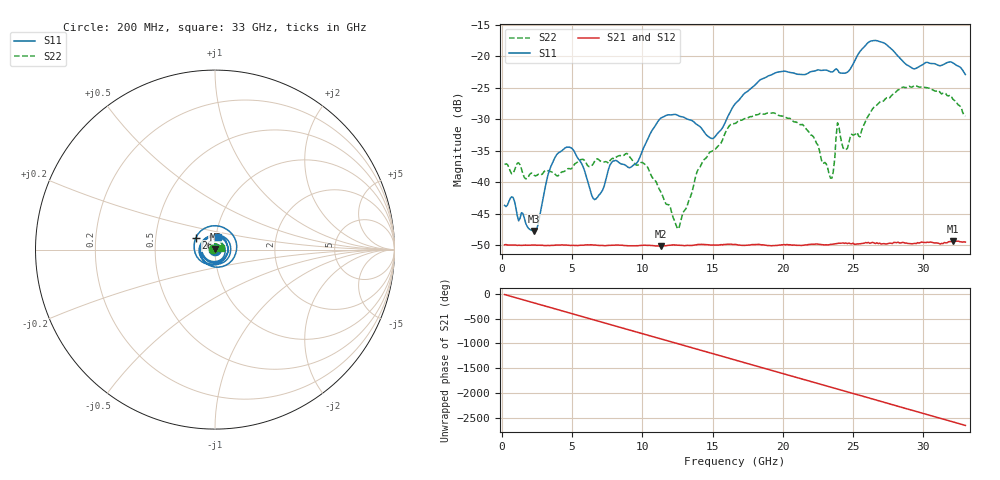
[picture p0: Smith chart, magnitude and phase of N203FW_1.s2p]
# GHZ S RI R 50
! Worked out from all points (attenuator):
!   329 points, 200 MHz to 33 GHz, reference 50 ohm
!   highest |S21| = -49.38 dB at 32.1 GHz (marker M1); lowest = -50.2 dB at 11.3 GHz (marker M2)
!   lowest |S11| = -47.8 dB at 2.3 GHz (marker M3), VSWR 1.01, Z = 50.2 + j0.343 ohm
!   |S11| at or under -10 dB: start of sweep to end of sweep
!   |S22| runs from -47.4 to -24.6 dB; largest |S21 - S12| = 8.8e-05
!   S11 on the Smith chart (normalised r, x): 200 MHz: 1.01, -0.00; 26 GHz: 0.80, +0.11; 33 GHz: 1.03, +0.14
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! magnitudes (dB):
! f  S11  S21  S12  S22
! 200 MHz  -43.7  -50.0  -49.9  -37.2
! 2.3 GHz  -47.8  -50.0  -50.0  -38.9
! 3.9 GHz  -35.7  -50.0  -50.0  -39.0
! 5.7 GHz  -37.1  -50.0  -50.0  -36.4
! 6.7 GHz  -42.7  -50.0  -50.0  -36.4
! 7.9 GHz  -36.7  -50.0  -50.0  -36.2
! 8.9 GHz  -37.5  -50.1  -50.1  -35.5
! 11.2 GHz  -30.1  -50.2  -50.2  -41.1
! 11.3 GHz  -29.9  -50.2  -50.2  -41.5
! 12.6 GHz  -29.5  -50.0  -50.0  -47.4
! 15 GHz  -33.1  -50.0  -50.0  -35.0
! 16.6 GHz  -27.6  -49.9  -49.9  -30.7
! 19.4 GHz  -22.7  -50.1  -50.1  -29.0
! 22.1 GHz  -22.4  -49.9  -49.8  -32.6
! 23.5 GHz  -22.5  -49.9  -49.8  -39.4
! 23.9 GHz  -22.2  -49.8  -49.8  -30.6
! 24.5 GHz  -22.7  -49.7  -49.7  -34.9
! 26 GHz  -18.0  -49.7  -49.6  -29.8
! 27.6 GHz  -18.6  -49.7  -49.7  -26.6
! 29.3 GHz  -22.0  -49.8  -49.8  -24.8
! 32.1 GHz  -21.1  -49.4  -49.3  -26.8
! 33 GHz  -22.9  -49.5  -49.6  -29.5
